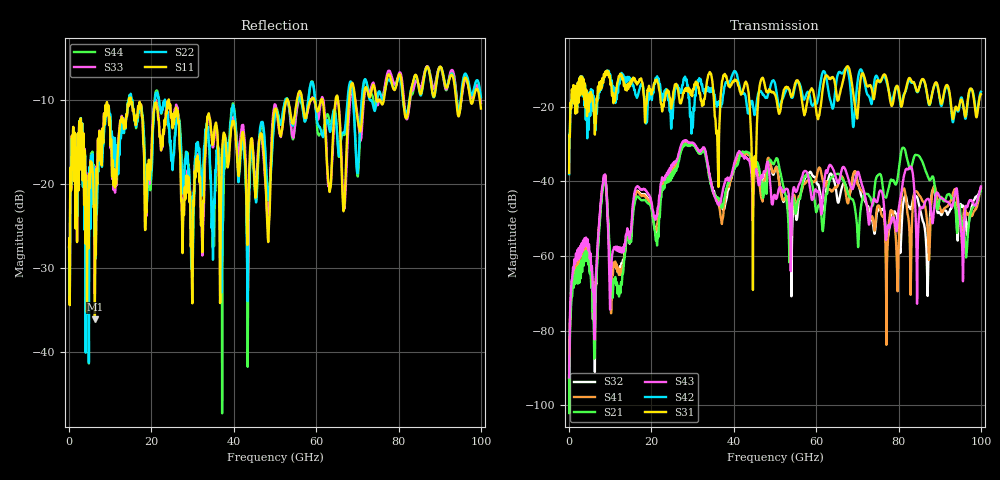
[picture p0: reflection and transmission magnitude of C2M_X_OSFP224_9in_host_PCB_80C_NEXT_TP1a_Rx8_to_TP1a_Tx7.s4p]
# GHz S RI R 45
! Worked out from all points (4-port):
!   4000 points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, 25 MHz to 100 GHz, reference 45 ohm
!   strongest paths, dB at 25 MHz, 25.02 GHz, 50.02 GHz, 75.03 GHz, 100 GHz:
!     S31: -37.7, -19.1, -16.7, -12.8, -16.6
!     S42: -38.0, -22.6, -13.7, -12.5, -15.9
!     S43: -92.6, -36.0, -43.8, -44.5, -41.3
!     S21: -89.4, -38.9, -34.6, -38.3, -42.6
!     S41: -92.6, -37.5, -36.6, -46.5, -41.6
!     S32: -92.0, -37.5, -36.8, -47.7, -41.9
!   lowest |S11| = -36.2 dB at 6.275 GHz (marker M1), VSWR 1.03, Z = 46.4 - j0.0584 ohm
!   |S11| at or under -10 dB: start of sweep to 14.56 GHz; 15.04 GHz to 24.19 GHz (9.153 GHz wide, 46.7 % of centre); 24.24 GHz to 52.86 GHz (28.62 GHz wide, 74.2 % of centre) (the widest 3 of 18)
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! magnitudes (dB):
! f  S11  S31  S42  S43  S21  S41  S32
! 25 MHz  -27.5  -37.7  -38.0  -92.6  -89.4  -92.6  -92.0
! 6.275 GHz  -36.2  -27.4  -19.7  -79.1  -82.6  -80.3  -91.1
! 8.525 GHz  -11.6  -11.2  -12.0  -38.6  -39.6  -39.1  -39.1
! 12.18 GHz  -13.8  -11.7  -13.1  -58.8  -70.2  -64.9  -64.0
! 28.23 GHz  -21.8  -15.7  -12.1  -29.0  -29.9  -29.4  -29.5
! 44.9 GHz  -18.7  -35.5  -21.4  -38.3  -38.3  -40.5  -38.6
! 100 GHz  -11.0  -16.6  -15.9  -41.3  -42.6  -41.6  -41.9
